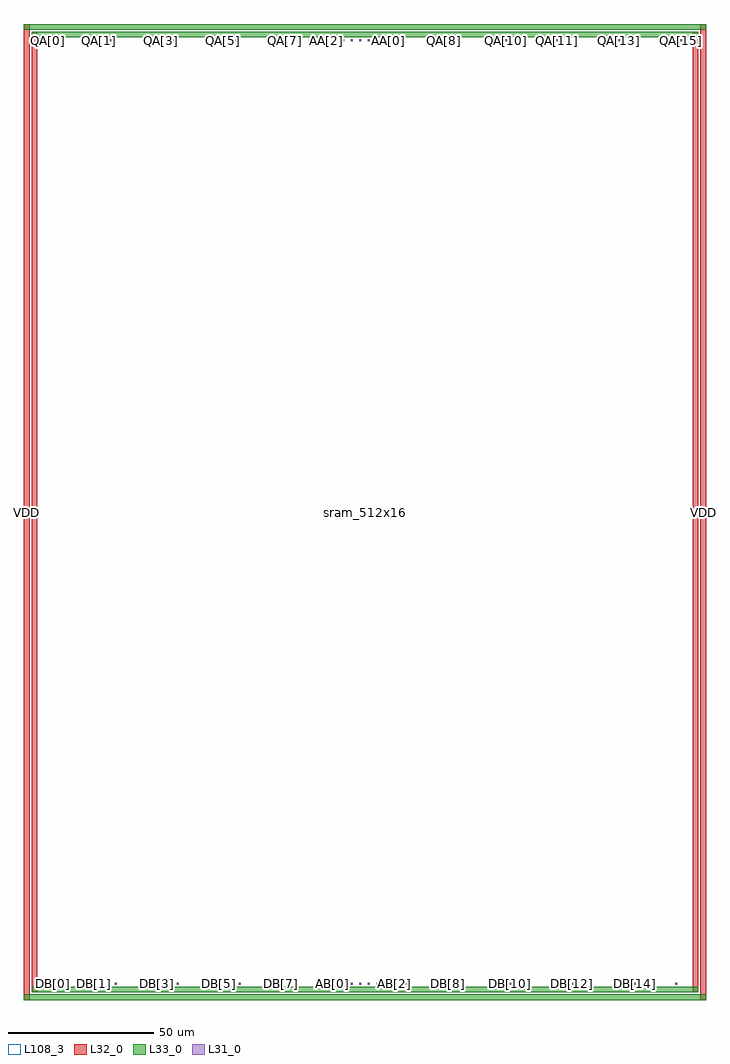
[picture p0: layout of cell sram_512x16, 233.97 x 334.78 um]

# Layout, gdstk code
import gdstk
lib = gdstk.Library(unit=1e-6, precision=1e-09)
def R(c, l, rs):  # rectangles x0, y0, x1, y1
    for r in rs: c.add(gdstk.rectangle(r[:2], r[2:], *l))
def A(c, l, x, y, w, h, nx, ny, dx, dy):  # array of equal rectangles
    R(c, l, [(x+i*dx, y+j*dy, x+i*dx+w, y+j*dy+h) for i in range(nx) for j in range(ny)])
L31_0 = (31, 0)
L32_0 = (32, 0)
L33_0 = (33, 0)
L108_3 = (108, 3)

sram_512x16 = lib.new_cell('sram_512x16')
A(sram_512x16, L31_0, 109.22, 5.2, 0.66, 0.66, 7, 1, 2.92, 0)
A(sram_512x16, L31_0, 103.38, 328.925, 0.66, 0.66, 7, 1, 2.92, 0)
R(sram_512x16, L31_0, [(9.835,5.2,10.495,5.86), (24.035,5.2,24.695,5.86), (31.115,5.2,31.775,5.86), (45.315,5.2,45.975,5.86), (52.395,5.2,53.055,5.86), (66.595,5.2,67.255,5.86), (73.675,5.2,74.335,5.86), (87.875,5.2,88.535,5.86), (102.44,5.2,103.1,5.86), (105.36,5.2,106.02,5.86), (129.125,5.2,129.785,5.86), (130.625,5.2,131.285,5.86), (145.435,5.2,146.095,5.86), (159.635,5.2,160.295,5.86), (166.715,5.2,167.375,5.86), (180.915,5.2,181.575,5.86), (187.995,5.2,188.655,5.86), (202.195,5.2,202.855,5.86), (209.275,5.2,209.935,5.86), (223.475,5.2,224.135,5.86), (8.235,328.925,8.895,329.585), (25.635,328.925,26.295,329.585), (29.515,328.925,30.175,329.585), (46.915,328.925,47.575,329.585), (50.795,328.925,51.455,329.585), (68.195,328.925,68.855,329.585), (72.075,328.925,72.735,329.585), (89.475,328.925,90.135,329.585), (97.655,328.925,98.315,329.585), (98.58,328.925,99.24,329.585), (124.76,328.925,125.42,329.585), (127.68,328.925,128.34,329.585), (143.835,328.925,144.495,329.585), (161.235,328.925,161.895,329.585), (165.115,328.925,165.775,329.585), (182.515,328.925,183.175,329.585), (186.395,328.925,187.055,329.585), (203.795,328.925,204.455,329.585), (207.675,328.925,208.335,329.585), (225.075,328.925,225.735,329.585)])
A(sram_512x16, L32_0, 109.22, 5.2, 0.66, 0.66, 7, 1, 2.92, 0)
A(sram_512x16, L32_0, 103.38, 328.925, 0.66, 0.66, 7, 1, 2.92, 0)
R(sram_512x16, L32_0, [(0,0,2,334.785), (231.97,0,233.97,334.785), (2.6,2.6,4.6,332.185), (229.37,2.6,231.37,332.185), (9.835,5.2,10.495,5.86), (24.035,5.2,24.695,5.86), (31.115,5.2,31.775,5.86), (45.315,5.2,45.975,5.86), (52.395,5.2,53.055,5.86), (66.595,5.2,67.255,5.86), (73.675,5.2,74.335,5.86), (87.875,5.2,88.535,5.86), (102.44,5.2,103.1,5.86), (105.36,5.2,106.02,5.86), (129.125,5.2,129.785,5.86), (130.625,5.2,131.285,5.86), (145.435,5.2,146.095,5.86), (159.635,5.2,160.295,5.86), (166.715,5.2,167.375,5.86), (180.915,5.2,181.575,5.86), (187.995,5.2,188.655,5.86), (202.195,5.2,202.855,5.86), (209.275,5.2,209.935,5.86), (223.475,5.2,224.135,5.86), (8.235,328.925,8.895,329.585), (25.635,328.925,26.295,329.585), (29.515,328.925,30.175,329.585), (46.915,328.925,47.575,329.585), (50.795,328.925,51.455,329.585), (68.195,328.925,68.855,329.585), (72.075,328.925,72.735,329.585), (89.475,328.925,90.135,329.585), (97.655,328.925,98.315,329.585), (98.58,328.925,99.24,329.585), (124.76,328.925,125.42,329.585), (127.68,328.925,128.34,329.585), (143.835,328.925,144.495,329.585), (161.235,328.925,161.895,329.585), (165.115,328.925,165.775,329.585), (182.515,328.925,183.175,329.585), (186.395,328.925,187.055,329.585), (203.795,328.925,204.455,329.585), (207.675,328.925,208.335,329.585), (225.075,328.925,225.735,329.585)])
A(sram_512x16, L33_0, 109.22, 5.2, 0.66, 0.66, 7, 1, 2.92, 0)
A(sram_512x16, L33_0, 103.38, 328.925, 0.66, 0.66, 7, 1, 2.92, 0)
R(sram_512x16, L33_0, [(0,0,233.97,2), (2.6,2.6,231.37,4.6), (9.835,5.2,10.495,5.86), (24.035,5.2,24.695,5.86), (31.115,5.2,31.775,5.86), (45.315,5.2,45.975,5.86), (52.395,5.2,53.055,5.86), (66.595,5.2,67.255,5.86), (73.675,5.2,74.335,5.86), (87.875,5.2,88.535,5.86), (102.44,5.2,103.1,5.86), (105.36,5.2,106.02,5.86), (129.125,5.2,129.785,5.86), (130.625,5.2,131.285,5.86), (145.435,5.2,146.095,5.86), (159.635,5.2,160.295,5.86), (166.715,5.2,167.375,5.86), (180.915,5.2,181.575,5.86), (187.995,5.2,188.655,5.86), (202.195,5.2,202.855,5.86), (209.275,5.2,209.935,5.86), (223.475,5.2,224.135,5.86), (8.235,328.925,8.895,329.585), (25.635,328.925,26.295,329.585), (29.515,328.925,30.175,329.585), (46.915,328.925,47.575,329.585), (50.795,328.925,51.455,329.585), (68.195,328.925,68.855,329.585), (72.075,328.925,72.735,329.585), (89.475,328.925,90.135,329.585), (97.655,328.925,98.315,329.585), (98.58,328.925,99.24,329.585), (124.76,328.925,125.42,329.585), (127.68,328.925,128.34,329.585), (143.835,328.925,144.495,329.585), (161.235,328.925,161.895,329.585), (165.115,328.925,165.775,329.585), (182.515,328.925,183.175,329.585), (186.395,328.925,187.055,329.585), (203.795,328.925,204.455,329.585), (207.675,328.925,208.335,329.585), (225.075,328.925,225.735,329.585), (2.6,330.185,231.37,332.185), (0,332.785,233.97,334.785)])
R(sram_512x16, L108_3, [(0,0,233.97,334.785)])
sram_512x16.add(gdstk.Label('sram_512x16', (116.985,167.392), layer=108, texttype=3))
sram_512x16.add(gdstk.Label('AA[0]', (125.09,329.255), layer=131, texttype=0))
sram_512x16.add(gdstk.Label('AA[0]', (125.09,329.255), layer=132, texttype=0))
sram_512x16.add(gdstk.Label('AA[0]', (125.09,329.255), layer=133, texttype=0))
sram_512x16.add(gdstk.Label('AA[1]', (128.01,329.255), layer=131, texttype=0))
sram_512x16.add(gdstk.Label('AA[1]', (128.01,329.255), layer=132, texttype=0))
sram_512x16.add(gdstk.Label('AA[1]', (128.01,329.255), layer=133, texttype=0))
sram_512x16.add(gdstk.Label('AA[2]', (103.71,329.255), layer=131, texttype=0))
sram_512x16.add(gdstk.Label('AA[2]', (103.71,329.255), layer=132, texttype=0))
sram_512x16.add(gdstk.Label('AA[2]', (103.71,329.255), layer=133, texttype=0))
sram_512x16.add(gdstk.Label('AA[3]', (106.63,329.255), layer=131, texttype=0))
sram_512x16.add(gdstk.Label('AA[3]', (106.63,329.255), layer=132, texttype=0))
sram_512x16.add(gdstk.Label('AA[3]', (106.63,329.255), layer=133, texttype=0))
sram_512x16.add(gdstk.Label('AA[4]', (109.55,329.255), layer=131, texttype=0))
sram_512x16.add(gdstk.Label('AA[4]', (109.55,329.255), layer=132, texttype=0))
sram_512x16.add(gdstk.Label('AA[4]', (109.55,329.255), layer=133, texttype=0))
sram_512x16.add(gdstk.Label('AA[5]', (112.47,329.255), layer=131, texttype=0))
sram_512x16.add(gdstk.Label('AA[5]', (112.47,329.255), layer=132, texttype=0))
sram_512x16.add(gdstk.Label('AA[5]', (112.47,329.255), layer=133, texttype=0))
sram_512x16.add(gdstk.Label('AA[6]', (115.39,329.255), layer=131, texttype=0))
sram_512x16.add(gdstk.Label('AA[6]', (115.39,329.255), layer=132, texttype=0))
sram_512x16.add(gdstk.Label('AA[6]', (115.39,329.255), layer=133, texttype=0))
sram_512x16.add(gdstk.Label('AA[7]', (118.31,329.255), layer=131, texttype=0))
sram_512x16.add(gdstk.Label('AA[7]', (118.31,329.255), layer=132, texttype=0))
sram_512x16.add(gdstk.Label('AA[7]', (118.31,329.255), layer=133, texttype=0))
sram_512x16.add(gdstk.Label('AA[8]', (121.23,329.255), layer=131, texttype=0))
sram_512x16.add(gdstk.Label('AA[8]', (121.23,329.255), layer=132, texttype=0))
sram_512x16.add(gdstk.Label('AA[8]', (121.23,329.255), layer=133, texttype=0))
sram_512x16.add(gdstk.Label('AB[0]', (105.69,5.53), layer=131, texttype=0))
sram_512x16.add(gdstk.Label('AB[0]', (105.69,5.53), layer=132, texttype=0))
sram_512x16.add(gdstk.Label('AB[0]', (105.69,5.53), layer=133, texttype=0))
sram_512x16.add(gdstk.Label('AB[1]', (102.77,5.53), layer=131, texttype=0))
sram_512x16.add(gdstk.Label('AB[1]', (102.77,5.53), layer=132, texttype=0))
sram_512x16.add(gdstk.Label('AB[1]', (102.77,5.53), layer=133, texttype=0))
sram_512x16.add(gdstk.Label('AB[2]', (127.07,5.53), layer=131, texttype=0))
sram_512x16.add(gdstk.Label('AB[2]', (127.07,5.53), layer=132, texttype=0))
sram_512x16.add(gdstk.Label('AB[2]', (127.07,5.53), layer=133, texttype=0))
sram_512x16.add(gdstk.Label('AB[3]', (124.15,5.53), layer=131, texttype=0))
sram_512x16.add(gdstk.Label('AB[3]', (124.15,5.53), layer=132, texttype=0))
sram_512x16.add(gdstk.Label('AB[3]', (124.15,5.53), layer=133, texttype=0))
sram_512x16.add(gdstk.Label('AB[4]', (121.23,5.53), layer=131, texttype=0))
sram_512x16.add(gdstk.Label('AB[4]', (121.23,5.53), layer=132, texttype=0))
sram_512x16.add(gdstk.Label('AB[4]', (121.23,5.53), layer=133, texttype=0))
sram_512x16.add(gdstk.Label('AB[5]', (118.31,5.53), layer=131, texttype=0))
sram_512x16.add(gdstk.Label('AB[5]', (118.31,5.53), layer=132, texttype=0))
sram_512x16.add(gdstk.Label('AB[5]', (118.31,5.53), layer=133, texttype=0))
sram_512x16.add(gdstk.Label('AB[6]', (115.39,5.53), layer=131, texttype=0))
sram_512x16.add(gdstk.Label('AB[6]', (115.39,5.53), layer=132, texttype=0))
sram_512x16.add(gdstk.Label('AB[6]', (115.39,5.53), layer=133, texttype=0))
sram_512x16.add(gdstk.Label('AB[7]', (112.47,5.53), layer=131, texttype=0))
sram_512x16.add(gdstk.Label('AB[7]', (112.47,5.53), layer=132, texttype=0))
sram_512x16.add(gdstk.Label('AB[7]', (112.47,5.53), layer=133, texttype=0))
sram_512x16.add(gdstk.Label('AB[8]', (109.55,5.53), layer=131, texttype=0))
sram_512x16.add(gdstk.Label('AB[8]', (109.55,5.53), layer=132, texttype=0))
sram_512x16.add(gdstk.Label('AB[8]', (109.55,5.53), layer=133, texttype=0))
sram_512x16.add(gdstk.Label('CENA', (98.91,329.255), layer=131, texttype=0))
sram_512x16.add(gdstk.Label('CENA', (98.91,329.255), layer=132, texttype=0))
sram_512x16.add(gdstk.Label('CENA', (98.91,329.255), layer=133, texttype=0))
sram_512x16.add(gdstk.Label('CENB', (129.455,5.53), layer=131, texttype=0))
sram_512x16.add(gdstk.Label('CENB', (129.455,5.53), layer=132, texttype=0))
sram_512x16.add(gdstk.Label('CENB', (129.455,5.53), layer=133, texttype=0))
sram_512x16.add(gdstk.Label('CLKA', (97.985,329.255), layer=131, texttype=0))
sram_512x16.add(gdstk.Label('CLKA', (97.985,329.255), layer=132, texttype=0))
sram_512x16.add(gdstk.Label('CLKA', (97.985,329.255), layer=133, texttype=0))
sram_512x16.add(gdstk.Label('CLKB', (130.955,5.53), layer=131, texttype=0))
sram_512x16.add(gdstk.Label('CLKB', (130.955,5.53), layer=132, texttype=0))
sram_512x16.add(gdstk.Label('CLKB', (130.955,5.53), layer=133, texttype=0))
sram_512x16.add(gdstk.Label('DB[0]', (10.165,5.53), layer=131, texttype=0))
sram_512x16.add(gdstk.Label('DB[0]', (10.165,5.53), layer=132, texttype=0))
sram_512x16.add(gdstk.Label('DB[0]', (10.165,5.53), layer=133, texttype=0))
sram_512x16.add(gdstk.Label('DB[10]', (167.045,5.53), layer=131, texttype=0))
sram_512x16.add(gdstk.Label('DB[10]', (167.045,5.53), layer=132, texttype=0))
sram_512x16.add(gdstk.Label('DB[10]', (167.045,5.53), layer=133, texttype=0))
sram_512x16.add(gdstk.Label('DB[11]', (181.245,5.53), layer=131, texttype=0))
sram_512x16.add(gdstk.Label('DB[11]', (181.245,5.53), layer=132, texttype=0))
sram_512x16.add(gdstk.Label('DB[11]', (181.245,5.53), layer=133, texttype=0))
sram_512x16.add(gdstk.Label('DB[12]', (188.325,5.53), layer=131, texttype=0))
sram_512x16.add(gdstk.Label('DB[12]', (188.325,5.53), layer=132, texttype=0))
sram_512x16.add(gdstk.Label('DB[12]', (188.325,5.53), layer=133, texttype=0))
sram_512x16.add(gdstk.Label('DB[13]', (202.525,5.53), layer=131, texttype=0))
sram_512x16.add(gdstk.Label('DB[13]', (202.525,5.53), layer=132, texttype=0))
sram_512x16.add(gdstk.Label('DB[13]', (202.525,5.53), layer=133, texttype=0))
sram_512x16.add(gdstk.Label('DB[14]', (209.605,5.53), layer=131, texttype=0))
sram_512x16.add(gdstk.Label('DB[14]', (209.605,5.53), layer=132, texttype=0))
sram_512x16.add(gdstk.Label('DB[14]', (209.605,5.53), layer=133, texttype=0))
sram_512x16.add(gdstk.Label('DB[15]', (223.805,5.53), layer=131, texttype=0))
sram_512x16.add(gdstk.Label('DB[15]', (223.805,5.53), layer=132, texttype=0))
sram_512x16.add(gdstk.Label('DB[15]', (223.805,5.53), layer=133, texttype=0))
sram_512x16.add(gdstk.Label('DB[1]', (24.365,5.53), layer=131, texttype=0))
sram_512x16.add(gdstk.Label('DB[1]', (24.365,5.53), layer=132, texttype=0))
sram_512x16.add(gdstk.Label('DB[1]', (24.365,5.53), layer=133, texttype=0))
sram_512x16.add(gdstk.Label('DB[2]', (31.445,5.53), layer=131, texttype=0))
sram_512x16.add(gdstk.Label('DB[2]', (31.445,5.53), layer=132, texttype=0))
sram_512x16.add(gdstk.Label('DB[2]', (31.445,5.53), layer=133, texttype=0))
sram_512x16.add(gdstk.Label('DB[3]', (45.645,5.53), layer=131, texttype=0))
sram_512x16.add(gdstk.Label('DB[3]', (45.645,5.53), layer=132, texttype=0))
sram_512x16.add(gdstk.Label('DB[3]', (45.645,5.53), layer=133, texttype=0))
sram_512x16.add(gdstk.Label('DB[4]', (52.725,5.53), layer=131, texttype=0))
sram_512x16.add(gdstk.Label('DB[4]', (52.725,5.53), layer=132, texttype=0))
sram_512x16.add(gdstk.Label('DB[4]', (52.725,5.53), layer=133, texttype=0))
sram_512x16.add(gdstk.Label('DB[5]', (66.925,5.53), layer=131, texttype=0))
sram_512x16.add(gdstk.Label('DB[5]', (66.925,5.53), layer=132, texttype=0))
sram_512x16.add(gdstk.Label('DB[5]', (66.925,5.53), layer=133, texttype=0))
sram_512x16.add(gdstk.Label('DB[6]', (74.005,5.53), layer=131, texttype=0))
sram_512x16.add(gdstk.Label('DB[6]', (74.005,5.53), layer=132, texttype=0))
sram_512x16.add(gdstk.Label('DB[6]', (74.005,5.53), layer=133, texttype=0))
sram_512x16.add(gdstk.Label('DB[7]', (88.205,5.53), layer=131, texttype=0))
sram_512x16.add(gdstk.Label('DB[7]', (88.205,5.53), layer=132, texttype=0))
sram_512x16.add(gdstk.Label('DB[7]', (88.205,5.53), layer=133, texttype=0))
sram_512x16.add(gdstk.Label('DB[8]', (145.765,5.53), layer=131, texttype=0))
sram_512x16.add(gdstk.Label('DB[8]', (145.765,5.53), layer=132, texttype=0))
sram_512x16.add(gdstk.Label('DB[8]', (145.765,5.53), layer=133, texttype=0))
sram_512x16.add(gdstk.Label('DB[9]', (159.965,5.53), layer=131, texttype=0))
sram_512x16.add(gdstk.Label('DB[9]', (159.965,5.53), layer=132, texttype=0))
sram_512x16.add(gdstk.Label('DB[9]', (159.965,5.53), layer=133, texttype=0))
sram_512x16.add(gdstk.Label('QA[0]', (8.565,329.255), layer=131, texttype=0))
sram_512x16.add(gdstk.Label('QA[0]', (8.565,329.255), layer=132, texttype=0))
sram_512x16.add(gdstk.Label('QA[0]', (8.565,329.255), layer=133, texttype=0))
sram_512x16.add(gdstk.Label('QA[10]', (165.445,329.255), layer=131, texttype=0))
sram_512x16.add(gdstk.Label('QA[10]', (165.445,329.255), layer=132, texttype=0))
sram_512x16.add(gdstk.Label('QA[10]', (165.445,329.255), layer=133, texttype=0))
sram_512x16.add(gdstk.Label('QA[11]', (182.845,329.255), layer=131, texttype=0))
sram_512x16.add(gdstk.Label('QA[11]', (182.845,329.255), layer=132, texttype=0))
sram_512x16.add(gdstk.Label('QA[11]', (182.845,329.255), layer=133, texttype=0))
sram_512x16.add(gdstk.Label('QA[12]', (186.725,329.255), layer=131, texttype=0))
sram_512x16.add(gdstk.Label('QA[12]', (186.725,329.255), layer=132, texttype=0))
sram_512x16.add(gdstk.Label('QA[12]', (186.725,329.255), layer=133, texttype=0))
sram_512x16.add(gdstk.Label('QA[13]', (204.125,329.255), layer=131, texttype=0))
sram_512x16.add(gdstk.Label('QA[13]', (204.125,329.255), layer=132, texttype=0))
sram_512x16.add(gdstk.Label('QA[13]', (204.125,329.255), layer=133, texttype=0))
sram_512x16.add(gdstk.Label('QA[14]', (208.005,329.255), layer=131, texttype=0))
sram_512x16.add(gdstk.Label('QA[14]', (208.005,329.255), layer=132, texttype=0))
sram_512x16.add(gdstk.Label('QA[14]', (208.005,329.255), layer=133, texttype=0))
sram_512x16.add(gdstk.Label('QA[15]', (225.405,329.255), layer=131, texttype=0))
sram_512x16.add(gdstk.Label('QA[15]', (225.405,329.255), layer=132, texttype=0))
sram_512x16.add(gdstk.Label('QA[15]', (225.405,329.255), layer=133, texttype=0))
sram_512x16.add(gdstk.Label('QA[1]', (25.965,329.255), layer=131, texttype=0))
sram_512x16.add(gdstk.Label('QA[1]', (25.965,329.255), layer=132, texttype=0))
sram_512x16.add(gdstk.Label('QA[1]', (25.965,329.255), layer=133, texttype=0))
sram_512x16.add(gdstk.Label('QA[2]', (29.845,329.255), layer=131, texttype=0))
sram_512x16.add(gdstk.Label('QA[2]', (29.845,329.255), layer=132, texttype=0))
sram_512x16.add(gdstk.Label('QA[2]', (29.845,329.255), layer=133, texttype=0))
sram_512x16.add(gdstk.Label('QA[3]', (47.245,329.255), layer=131, texttype=0))
sram_512x16.add(gdstk.Label('QA[3]', (47.245,329.255), layer=132, texttype=0))
sram_512x16.add(gdstk.Label('QA[3]', (47.245,329.255), layer=133, texttype=0))
sram_512x16.add(gdstk.Label('QA[4]', (51.125,329.255), layer=131, texttype=0))
sram_512x16.add(gdstk.Label('QA[4]', (51.125,329.255), layer=132, texttype=0))
sram_512x16.add(gdstk.Label('QA[4]', (51.125,329.255), layer=133, texttype=0))
sram_512x16.add(gdstk.Label('QA[5]', (68.525,329.255), layer=131, texttype=0))
sram_512x16.add(gdstk.Label('QA[5]', (68.525,329.255), layer=132, texttype=0))
sram_512x16.add(gdstk.Label('QA[5]', (68.525,329.255), layer=133, texttype=0))
sram_512x16.add(gdstk.Label('QA[6]', (72.405,329.255), layer=131, texttype=0))
sram_512x16.add(gdstk.Label('QA[6]', (72.405,329.255), layer=132, texttype=0))
sram_512x16.add(gdstk.Label('QA[6]', (72.405,329.255), layer=133, texttype=0))
sram_512x16.add(gdstk.Label('QA[7]', (89.805,329.255), layer=131, texttype=0))
sram_512x16.add(gdstk.Label('QA[7]', (89.805,329.255), layer=132, texttype=0))
sram_512x16.add(gdstk.Label('QA[7]', (89.805,329.255), layer=133, texttype=0))
sram_512x16.add(gdstk.Label('QA[8]', (144.165,329.255), layer=131, texttype=0))
sram_512x16.add(gdstk.Label('QA[8]', (144.165,329.255), layer=132, texttype=0))
sram_512x16.add(gdstk.Label('QA[8]', (144.165,329.255), layer=133, texttype=0))
sram_512x16.add(gdstk.Label('QA[9]', (161.565,329.255), layer=131, texttype=0))
sram_512x16.add(gdstk.Label('QA[9]', (161.565,329.255), layer=132, texttype=0))
sram_512x16.add(gdstk.Label('QA[9]', (161.565,329.255), layer=133, texttype=0))
sram_512x16.add(gdstk.Label('VDD', (116.985,333.785), layer=133, texttype=0))
sram_512x16.add(gdstk.Label('VDD', (116.985,1), layer=133, texttype=0))
sram_512x16.add(gdstk.Label('VDD', (232.97,167.392), layer=132, texttype=0))
sram_512x16.add(gdstk.Label('VDD', (1,167.392), layer=132, texttype=0))
sram_512x16.add(gdstk.Label('VSS', (116.985,331.185), layer=133, texttype=0))
sram_512x16.add(gdstk.Label('VSS', (116.985,3.6), layer=133, texttype=0))
sram_512x16.add(gdstk.Label('VSS', (230.37,167.392), layer=132, texttype=0))
sram_512x16.add(gdstk.Label('VSS', (3.6,167.392), layer=132, texttype=0))

lib.write_gds('sram_512x16.gds')
